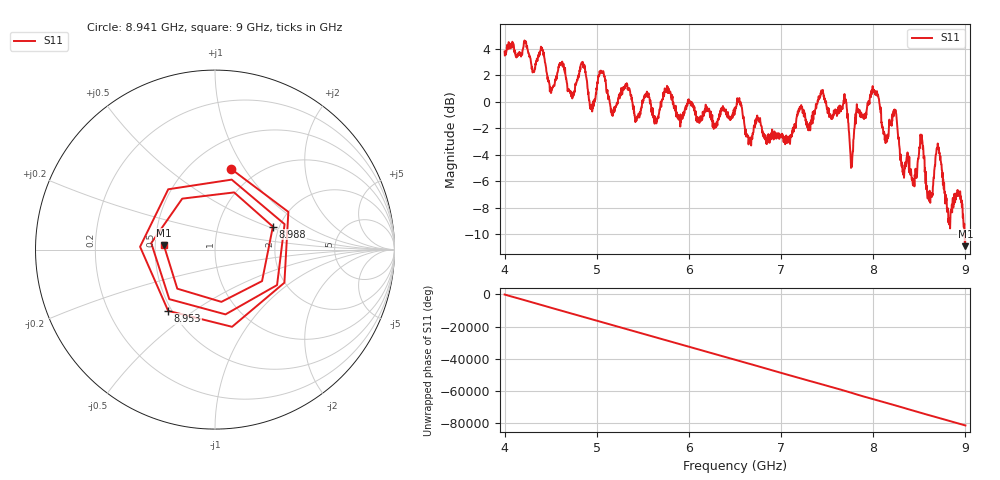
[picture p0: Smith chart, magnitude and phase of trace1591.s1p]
! Created with skrf 1.8.0 (http://scikit-rf.org).
# Hz S RI R 50.0
!freq ReS11 ImS11
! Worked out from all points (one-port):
!   1601 points, 4 GHz to 9 GHz, reference 50 ohm
!   lowest |S11| = -10.9 dB at 9 GHz (marker M1), VSWR 1.80, Z = 27.8 + j1.39 ohm
!   |S11| at or under -10 dB: 8.990923 GHz to end of sweep
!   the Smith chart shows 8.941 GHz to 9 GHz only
!   S11 on the Smith chart (normalised r, x): 8.941 GHz: 0.77, +0.87; 8.953 GHz: 0.48, -0.40; 8.988 GHz: 1.85, +0.54; 9 GHz: 0.56, +0.03
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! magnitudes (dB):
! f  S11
! 4 GHz  3.8
! 4.403 GHz  3.9
! 4.512 GHz  0.9
! 4.625 GHz  3.0
! 4.731 GHz  0.6
! 4.853 GHz  2.6
! 4.944 GHz  -0.5
! 5.05 GHz  2.2
! 5.169 GHz  -0.8
! 5.25 GHz  0.6
! 5.875 GHz  -0.9
! 6.5 GHz  -0.7
! 6.662 GHz  -2.8
! 7.125 GHz  -2.0
! 7.441 GHz  0.7
! 7.697 GHz  0.2
! 7.75 GHz  -3.7
! 8.016 GHz  0.8
! 8.375 GHz  -4.2
! 8.45 GHz  -5.5
! 8.525 GHz  -2.5
! 8.612 GHz  -6.7
! 8.703 GHz  -3.4
! 8.825 GHz  -8.9
! 8.941 GHz  -6.8
! 8.953 GHz  -7.3
! 8.988 GHz  -9.2
! 9 GHz  -10.9
